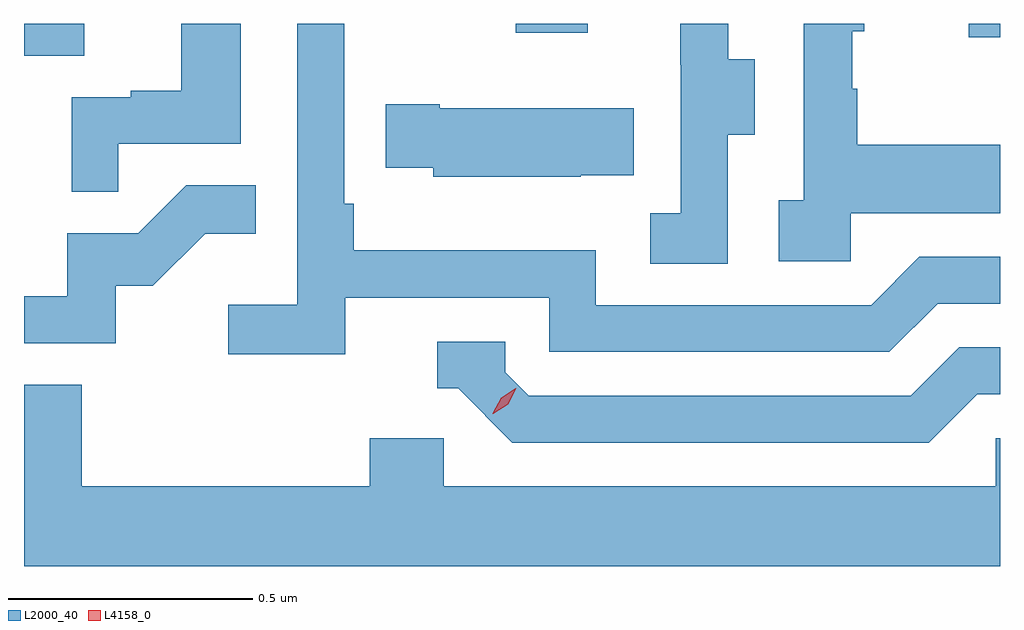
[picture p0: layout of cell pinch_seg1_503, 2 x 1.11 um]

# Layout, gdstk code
import gdstk
lib = gdstk.Library(unit=1e-6, precision=1e-09)
def R(c, l, rs):  # rectangles x0, y0, x1, y1
    for r in rs: c.add(gdstk.rectangle(r[:2], r[2:], *l))
def P(c, l, *ps):  # polygons
    for p in ps: c.add(gdstk.Polygon(p, *l))
L2000_40 = (2000, 40)
L4158_0 = (4158, 0)

pinch_seg1_503 = lib.new_cell('pinch_seg1_503')
R(pinch_seg1_503, L2000_40, [(1083.676,528.802,1083.799,528.867), (1085.612,528.84,1085.676,528.867), (1084.684,528.849,1084.831,528.867)])
P(pinch_seg1_503, L2000_40, [(1084.334,528.306),(1084.752,528.306),(1084.752,528.195),(1085.449,528.195),(1085.548,528.294),(1085.676,528.294),(1085.676,528.39),(1085.511,528.39),(1085.412,528.291),(1084.848,528.291),(1084.848,528.403),(1084.352,528.403),(1084.352,528.499),(1084.332,528.499),(1084.332,528.867),(1084.236,528.867),(1084.236,528.292),(1084.095,528.292),(1084.095,528.19),(1084.334,528.19)],
  [(1085.37,528.479),(1085.676,528.479),(1085.676,528.619),(1085.383,528.619),(1085.383,528.734),(1085.373,528.734),(1085.373,528.852),(1085.398,528.852),(1085.398,528.867),(1085.274,528.867),(1085.274,528.506),(1085.223,528.506),(1085.223,528.381),(1085.37,528.381)],
  [(1085.118,528.64),(1085.173,528.64),(1085.173,528.795),(1085.119,528.795),(1085.119,528.867),(1085.021,528.867),(1085.021,528.783),(1085.022,528.783),(1085.022,528.479),(1084.959,528.479),(1084.959,528.376),(1085.118,528.376)],
  [(1083.869,528.621),(1084.12,528.621),(1084.12,528.867),(1083.998,528.867),(1083.998,528.73),(1083.895,528.73),(1083.895,528.717),(1083.774,528.717),(1083.774,528.523),(1083.869,528.523)],
  [(1084.817,528.557),(1084.925,528.557),(1084.925,528.694),(1084.528,528.694),(1084.528,528.702),(1084.417,528.702),(1084.417,528.572),(1084.515,528.572),(1084.515,528.554),(1084.817,528.554)],
  [(1083.864,528.33),(1083.94,528.33),(1084.047,528.437),(1084.151,528.437),(1084.151,528.536),(1084.008,528.536),(1083.91,528.438),(1083.765,528.438),(1083.765,528.309),(1083.676,528.309),(1083.676,528.213),(1083.864,528.213)],
  [(1085.629,528.108),(1085.676,528.108),(1085.676,528.204),(1085.592,528.204),(1085.493,528.105),(1084.71,528.105),(1084.662,528.153),(1084.662,528.216),(1084.523,528.216),(1084.523,528.12),(1084.566,528.12),(1084.677,528.009),(1085.53,528.009)],
  [(1085.676,528.018),(1085.667,528.018),(1085.667,527.92),(1084.536,527.92),(1084.536,528.018),(1084.385,528.018),(1084.385,527.92),(1083.794,527.92),(1083.794,528.128),(1083.676,528.128),(1083.676,527.756),(1085.676,527.756)])
P(pinch_seg1_503, L4158_0, [(1084.637,528.068),(1084.637,528.069),(1084.654,528.101),(1084.684,528.12),(1084.685,528.12),(1084.685,528.12),(1084.668,528.088),(1084.638,528.068)])

lib.write_gds('pinch_seg1_503.gds')
